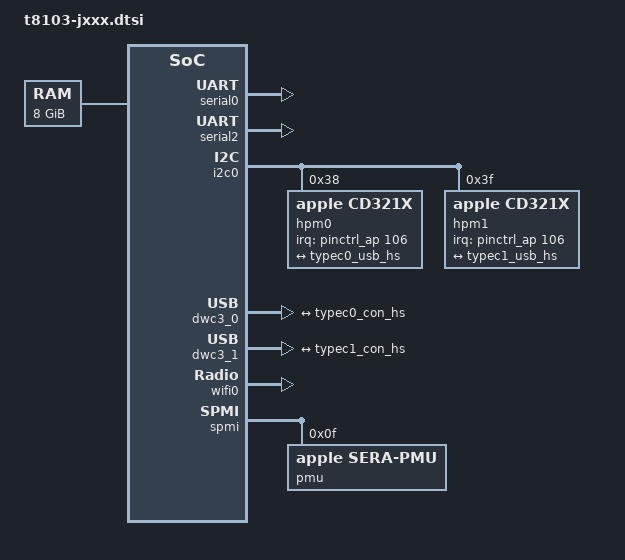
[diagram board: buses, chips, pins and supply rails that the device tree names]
// SPDX-License-Identifier: GPL-2.0+ OR MIT
/*
 * Apple M1 Mac mini, MacBook Air/Pro, iMac 24" (M1, 2020/2021)
 *
 * This file contains parts common to all Apple M1 devices using the t8103.
 *
 * target-type: J274, J293, J313, J456, J457
 *
 * Copyright The Asahi Linux Contributors
 */

#include <dt-bindings/spmi/spmi.h>

/ {
	aliases {
		serial0 = &serial0;
		serial2 = &serial2;
		wifi0 = &wifi0;
	};

	chosen {
		#address-cells = <2>;
		#size-cells = <2>;
		ranges;

		stdout-path = "serial0";

		framebuffer0: framebuffer@0 {
			compatible = "apple,simple-framebuffer", "simple-framebuffer";
			reg = <0 0 0 0>; /* To be filled by loader */
			/* Format properties will be added by loader */
			status = "disabled";
		};
	};

	memory@800000000 {
		device_type = "memory";
		reg = <0x8 0 0x2 0>; /* To be filled by loader */
	};
};

&serial0 {
	status = "okay";
};

&serial2 {
	status = "okay";
};

&i2c0 {
	hpm0: usb-pd@38 {
		compatible = "apple,cd321x";
		reg = <0x38>;
		interrupt-parent = <&pinctrl_ap>;
		interrupts = <106 IRQ_TYPE_LEVEL_LOW>;
		interrupt-names = "irq";

		typec0: connector {
			compatible = "usb-c-connector";
			power-role = "dual";
			data-role = "dual";

			ports {
				#address-cells = <1>;
				#size-cells = <0>;
				port@0 {
					reg = <0>;
					typec0_con_hs: endpoint {
						remote-endpoint = <&typec0_usb_hs>;
					};
				};
			};
		};
	};

	hpm1: usb-pd@3f {
		compatible = "apple,cd321x";
		reg = <0x3f>;
		interrupt-parent = <&pinctrl_ap>;
		interrupts = <106 IRQ_TYPE_LEVEL_LOW>;
		interrupt-names = "irq";

		typec1: connector {
			compatible = "usb-c-connector";
			power-role = "dual";
			data-role = "dual";

			ports {
				#address-cells = <1>;
				#size-cells = <0>;
				port@0 {
					reg = <0>;
					typec1_con_hs: endpoint {
						remote-endpoint = <&typec1_usb_hs>;
					};
				};
			};
		};
	};
};

/* USB controllers */
&dwc3_0 {
	port {
		typec0_usb_hs: endpoint {
			remote-endpoint = <&typec0_con_hs>;
		};
	};
};

&dwc3_1 {
	port {
		typec1_usb_hs: endpoint {
			remote-endpoint = <&typec1_con_hs>;
		};
	};
};

/*
 * Force the bus number assignments so that we can declare some of the
 * on-board devices and properties that are populated by the bootloader
 * (such as MAC addresses).
 */
&port00 {
	bus-range = <1 1>;
	pwren-gpios = <&smc 13 0>;
	wifi0: network@0,0 {
		compatible = "pci14e4,4425";
		reg = <0x10000 0x0 0x0 0x0 0x0>;
		/* To be filled by the loader */
		local-mac-address = [00 00 00 00 00 00];
		apple,antenna-sku = "XX";
	};
};

&spmi {
	status = "okay";

	pmu@f {
		compatible = "apple,sera-pmu";
		reg = <0xf SPMI_USID>;
	};
};
